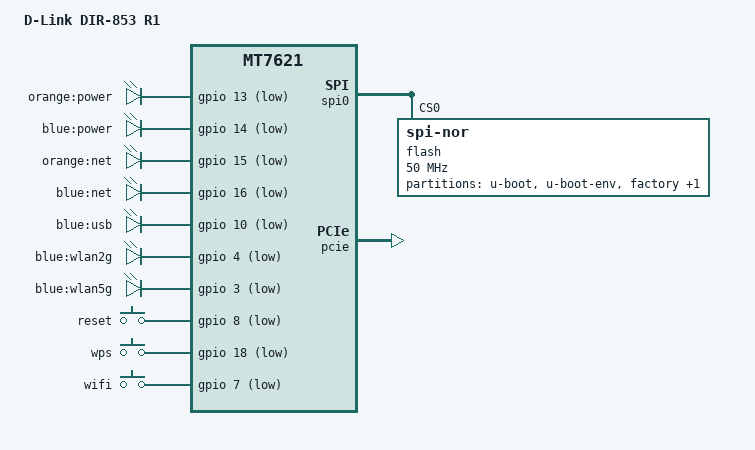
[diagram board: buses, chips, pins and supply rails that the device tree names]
// SPDX-License-Identifier: GPL-2.0-or-later OR MIT

#include "mt7621.dtsi"

#include <dt-bindings/gpio/gpio.h>
#include <dt-bindings/input/input.h>

/ {
	compatible = "dlink,dir-853-r1", "mediatek,mt7621-soc";
	model = "D-Link DIR-853 R1";

	aliases {
		led-boot = &led_power_orange;
		led-failsafe = &led_power_blue;
		led-running = &led_power_blue;
		led-upgrade = &led_net_orange;
		label-mac-device = &gmac0;
	};

	leds: leds {
		compatible = "gpio-leds";

		led_power_orange: power_orange {
			label = "orange:power";
			gpios = <&gpio 13 GPIO_ACTIVE_LOW>;
		};

		led_power_blue: power_blue {
			label = "blue:power";
			gpios = <&gpio 14 GPIO_ACTIVE_LOW>;
		};

		led_net_orange: net_orange {
			label = "orange:net";
			gpios = <&gpio 15 GPIO_ACTIVE_LOW>;
		};

		net_blue {
			label = "blue:net";
			gpios = <&gpio 16 GPIO_ACTIVE_LOW>;
		};

		usb_blue {
			label = "blue:usb";
			gpios = <&gpio 10 GPIO_ACTIVE_LOW>;
			trigger-sources = <&xhci_ehci_port1>;
			linux,default-trigger = "usbport";
		};

		wlan2g {
			label = "blue:wlan2g";
			gpios = <&gpio 4 GPIO_ACTIVE_LOW>;
		};

		wlan5g {
			label = "blue:wlan5g";
			gpios = <&gpio 3 GPIO_ACTIVE_LOW>;
		};
	};

	keys {
		compatible = "gpio-keys";

		reset {
			label = "reset";
			gpios = <&gpio 8 GPIO_ACTIVE_LOW>;
			linux,code = <KEY_RESTART>;
		};

		wps {
			label = "wps";
			gpios = <&gpio 18 GPIO_ACTIVE_LOW>;
			linux,code = <KEY_WPS_BUTTON>;
		};

		wifi {
			label = "wifi";
			gpios = <&gpio 7 GPIO_ACTIVE_LOW>;
			linux,code = <KEY_RFKILL>;
		};
	};
};

&spi0 {
	status = "okay";

	flash@0 {
		compatible = "jedec,spi-nor";
		reg = <0>;
		spi-max-frequency = <50000000>;

		partitions {
			compatible = "fixed-partitions";
			#address-cells = <1>;
			#size-cells = <1>;

			partition@0 {
				label = "u-boot";
				reg = <0x0 0x30000>;
				read-only;
			};

			partition@30000 {
				label = "u-boot-env";
				reg = <0x30000 0x10000>;
				read-only;
			};

			factory: partition@40000 {
				label = "factory";
				reg = <0x40000 0x10000>;
				read-only;
			};

			partition@50000 {
				compatible = "denx,uimage";
				label = "firmware";
				reg = <0x50000 0xfb0000>;
			};
		};
	};
};

&pcie {
	status = "okay";
};

&pcie0 {
	mt76@0,0 {
		reg = <0x0000 0 0 0 0>;
		mediatek,mtd-eeprom = <&factory 0x0>;
		mtd-mac-address = <&factory 0xe000>;
		mtd-mac-address-increment = <1>;
	};
};

&gmac0 {
	mtd-mac-address = <&factory 0xe000>;
};

&switch0 {
	ports {
		port@0 {
			status = "okay";
			label = "lan4";
		};

		port@1 {
			status = "okay";
			label = "lan3";
		};

		port@2 {
			status = "okay";
			label = "lan2";
		};

		port@3 {
			status = "okay";
			label = "lan1";
		};

		port@4 {
			status = "okay";
			label = "wan";
			mtd-mac-address = <&factory 0xe006>;
		};
	};
};

&state_default {
	gpio {
		groups = "i2c", "uart3", "jtag", "wdt";
		function = "gpio";
	};
};
